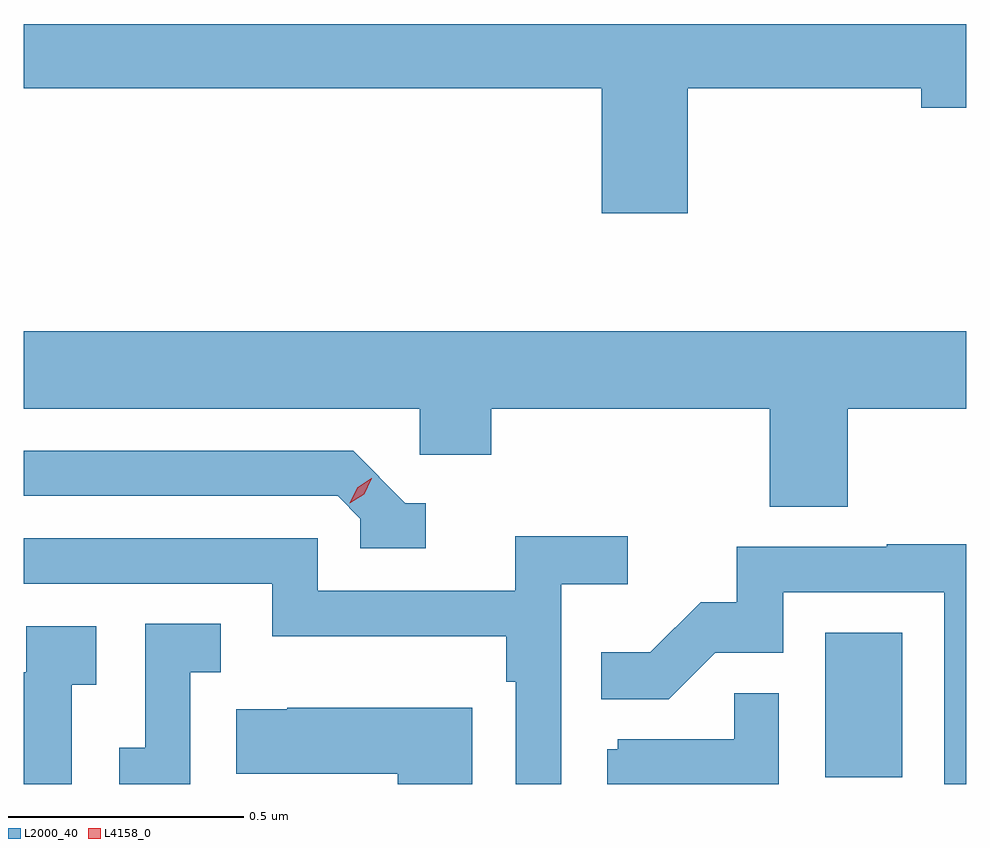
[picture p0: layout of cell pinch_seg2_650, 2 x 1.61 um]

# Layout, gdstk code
import gdstk
lib = gdstk.Library(unit=1e-6, precision=1e-09)
def R(c, l, rs):  # rectangles x0, y0, x1, y1
    for r in rs: c.add(gdstk.rectangle(r[:2], r[2:], *l))
def P(c, l, *ps):  # polygons
    for p in ps: c.add(gdstk.Polygon(p, *l))
L2000_40 = (2000, 40)
L4158_0 = (4158, 0)

pinch_seg2_650 = lib.new_cell('pinch_seg2_650')
R(pinch_seg2_650, L2000_40, [(1025.168,601.566,1025.332,601.873)])
P(pinch_seg2_650, L2000_40, [(1024.877,603.028),(1025.372,603.028),(1025.372,602.986),(1025.468,602.986),(1025.468,603.164),(1023.468,603.164),(1023.468,603.028),(1024.694,603.028),(1024.694,602.763),(1024.877,602.763)],
  [(1025.216,602.348),(1025.468,602.348),(1025.468,602.512),(1023.468,602.512),(1023.468,602.348),(1024.308,602.348),(1024.308,602.25),(1024.46,602.25),(1024.46,602.348),(1025.051,602.348),(1025.051,602.14),(1025.216,602.14)],
  [(1024.321,602.148),(1024.278,602.148),(1024.167,602.259),(1023.468,602.259),(1023.468,602.163),(1024.134,602.163),(1024.182,602.115),(1024.182,602.052),(1024.321,602.052)],
  [(1024.608,601.976),(1024.75,601.976),(1024.75,602.078),(1024.511,602.078),(1024.511,601.962),(1024.092,601.962),(1024.092,602.073),(1023.468,602.073),(1023.468,601.977),(1023.996,601.977),(1023.996,601.865),(1024.492,601.865),(1024.492,601.769),(1024.512,601.769),(1024.512,601.552),(1024.608,601.552)],
  [(1025.468,602.06),(1025.299,602.06),(1025.299,602.055),(1024.981,602.055),(1024.981,601.938),(1024.904,601.938),(1024.797,601.831),(1024.693,601.831),(1024.693,601.732),(1024.837,601.732),(1024.935,601.83),(1025.079,601.83),(1025.079,601.959),(1025.421,601.959),(1025.421,601.552),(1025.468,601.552)],
  [(1023.822,601.789),(1023.886,601.789),(1023.886,601.892),(1023.726,601.892),(1023.726,601.629),(1023.671,601.629),(1023.671,601.552),(1023.822,601.552)],
  [(1023.57,601.763),(1023.622,601.763),(1023.622,601.887),(1023.474,601.887),(1023.474,601.789),(1023.468,601.789),(1023.468,601.552),(1023.57,601.552)],
  [(1025.07,601.745),(1024.975,601.745),(1024.975,601.647),(1024.728,601.647),(1024.728,601.626),(1024.706,601.626),(1024.706,601.552),(1025.07,601.552)],
  [(1024.42,601.714),(1024.027,601.714),(1024.027,601.711),(1023.919,601.711),(1023.919,601.574),(1024.262,601.574),(1024.262,601.552),(1024.42,601.552)])
P(pinch_seg2_650, L4158_0, [(1024.16,602.147),(1024.16,602.148),(1024.176,602.18),(1024.206,602.2),(1024.207,602.2),(1024.207,602.2),(1024.191,602.167),(1024.16,602.147)])

lib.write_gds('pinch_seg2_650.gds')
